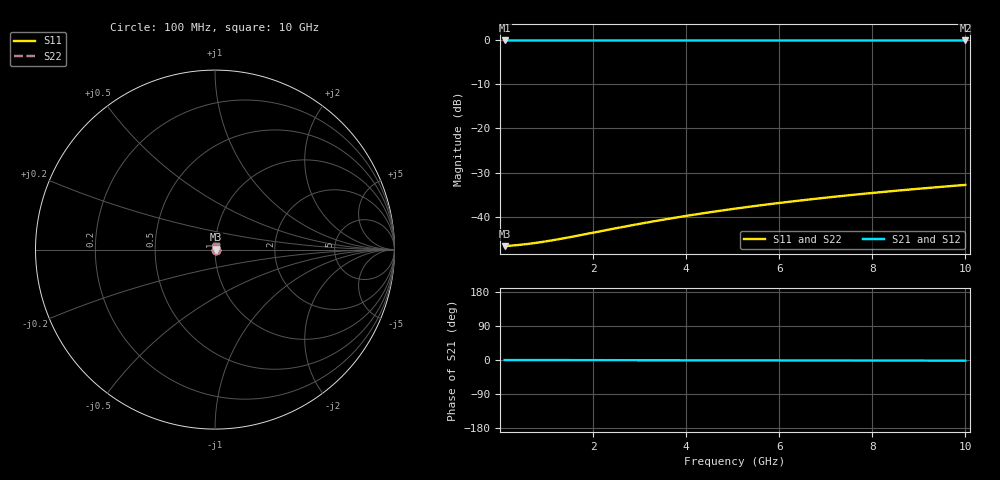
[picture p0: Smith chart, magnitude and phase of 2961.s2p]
# Hz S RI R 50.00
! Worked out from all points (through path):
!   100 points, 100 MHz to 10 GHz, reference 50 ohm
!   highest |S21| = -0.04 dB at 100 MHz (marker M1); lowest = 0.0 dB at 10 GHz (marker M2)
!   lowest |S11| = -46.7 dB at 100 MHz (marker M3), VSWR 1.01, Z = 50.5 + j0.0224 ohm
!   |S11| at or under -10 dB: start of sweep to end of sweep
!   |S22| runs from -46.7 to -32.8 dB; largest |S21 - S12| = 0
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1e8  0.00461 0.000222  0.9954 -0.000303  0.9954 -0.000303  0.00461 0.000222
3e8  0.00466 0.000665  0.9953 -0.00091  0.9953 -0.00091  0.00466 0.000665
5e8  0.0047 0.00111  0.9953 -0.00152  0.9953 -0.00152  0.0047 0.00111
8e8  0.00474 0.00177  0.9953 -0.00243  0.9953 -0.00243  0.00474 0.00177
1e9  0.00476 0.00222  0.9952 -0.00303  0.9952 -0.00303  0.00476 0.00222
1.2e9  0.00478 0.00266  0.9952 -0.00364  0.9952 -0.00364  0.00478 0.00266
1.5e9  0.0048 0.00332  0.9952 -0.00455  0.9952 -0.00455  0.0048 0.00332
1.8e9  0.00483 0.00399  0.9952 -0.00546  0.9952 -0.00546  0.00483 0.00399
2.7e9  0.0049 0.00598  0.9951 -0.00819  0.9951 -0.00819  0.0049 0.00598
3.1e9  0.00493 0.00687  0.9951 -0.0094  0.9951 -0.0094  0.00493 0.00687
3.4e9  0.00495 0.00753  0.995 -0.0103  0.995 -0.0103  0.00495 0.00753
3.8e9  0.00498 0.00842  0.995 -0.0115  0.995 -0.0115  0.00498 0.00842
4.2e9  0.00502 0.0093  0.995 -0.0127  0.995 -0.0127  0.00502 0.0093
4.6e9  0.00505 0.0102  0.9949 -0.014  0.9949 -0.014  0.00505 0.0102
5.1e9  0.0051 0.0113  0.9949 -0.0155  0.9949 -0.0155  0.0051 0.0113
5.5e9  0.00514 0.0122  0.9948 -0.0167  0.9948 -0.0167  0.00514 0.0122
5.9e9  0.00518 0.0131  0.9948 -0.0179  0.9948 -0.0179  0.00518 0.0131
6.7e9  0.00526 0.0148  0.9947 -0.0203  0.9947 -0.0203  0.00526 0.0148
7.5e9  0.00536 0.0166  0.9946 -0.0227  0.9946 -0.0227  0.00536 0.0166
8.4e9  0.00547 0.0186  0.9945 -0.0255  0.9945 -0.0255  0.00547 0.0186
9.2e9  0.00558 0.0204  0.9944 -0.0279  0.9944 -0.0279  0.00558 0.0204
1e10  0.0057 0.0221  0.9943 -0.0303  0.9943 -0.0303  0.0057 0.0221
